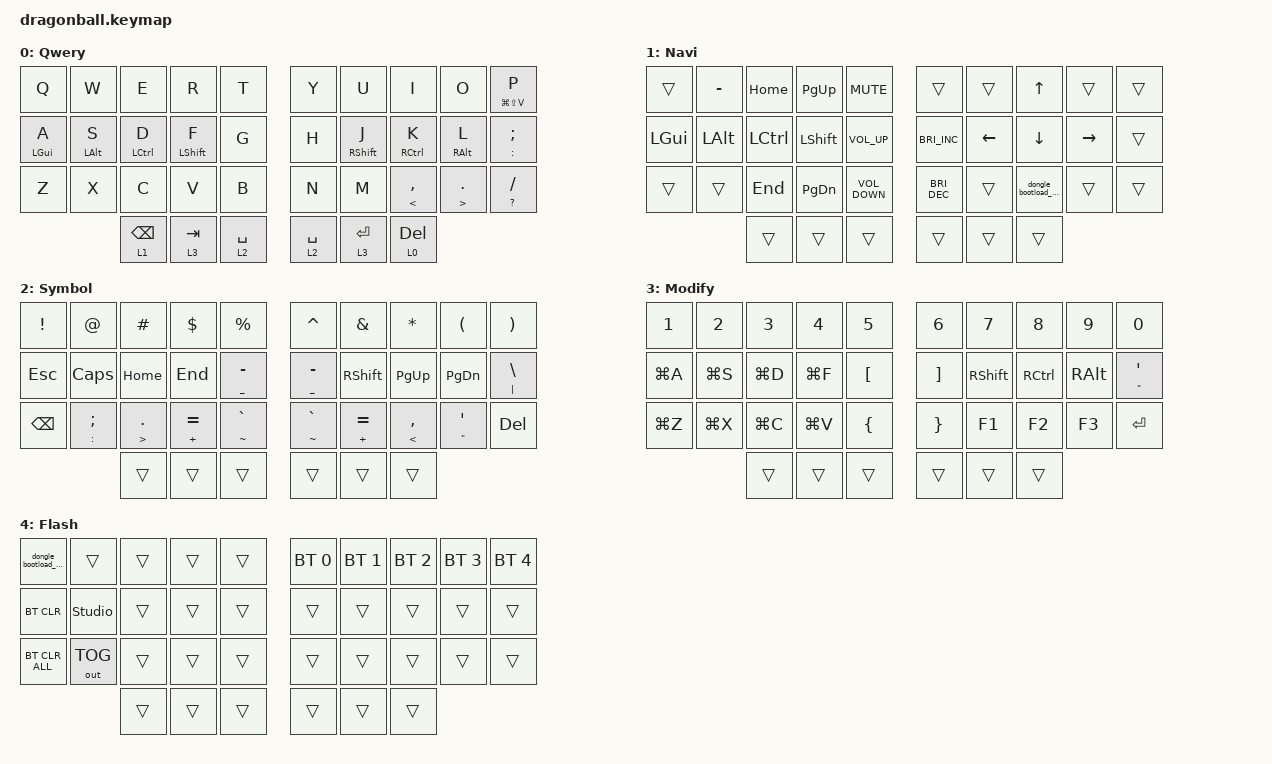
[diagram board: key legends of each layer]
#include <dt-bindings/zmk/mouse.h>
#include <behaviors.dtsi>
#include <dt-bindings/zmk/bt.h>
#include <dt-bindings/zmk/keys.h>
#include <dt-bindings/zmk/outputs.h>


&lt {
    tapping-term-ms = <240>;
    flavor = "balanced";
    quick-tap-ms = <150>;
};

&mt {
    global-quick-tap;
    flavor = "tap-preferred";
    tapping-term-ms = <200>;
};

&sk {
    release-after-ms = <2000>;
    quick-release;
};

/ {
    macros {
        dongle_bootload_macro: bootload_macro {
            compatible = "zmk,behavior-macro";
            #binding-cells = <0>;
            bindings = <&bootloader>;
            label = "BOOTLOAD_MACRO";
        };
    };

    combos {
        compatible = "zmk,combos";

        combo_esc {
            timeout-ms = <50>;
            key-positions = <0 1>;
            bindings = <&kp ESC>;
        };

        left_bkt {
            bindings = <&kp LEFT_BRACKET>;
            key-positions = <2 3>;
            timeout-ms = <50>;
        };

        right_bkt {
            bindings = <&kp RIGHT_BRACKET>;
            key-positions = <7 6>;
            timeout-ms = <50>;
        };

        left_par {
            bindings = <&kp LEFT_PARENTHESIS>;
            key-positions = <12 13>;
            timeout-ms = <50>;
        };

        right_par {
            bindings = <&kp RIGHT_PARENTHESIS>;
            key-positions = <16 17>;
            timeout-ms = <50>;
        };

        left_brace {
            bindings = <&kp LEFT_BRACE>;
            key-positions = <22 23>;
            timeout-ms = <50>;
        };

        right_brace {
            bindings = <&kp RIGHT_BRACE>;
            key-positions = <26 27>;
            timeout-ms = <50>;
        };

        bac {
            bindings = <&kp BACKSLASH>;
            key-positions = <5 4>;
            timeout-ms = <50>;
        };

        pipe {
            bindings = <&kp PIPE>;
            key-positions = <14 15>;
            timeout-ms = <50>;
        };

        lclk {
            bindings = <&mkp LCLK>;
            key-positions = <13 14>;
        };

        rclk {
            bindings = <&mkp RCLK>;
            key-positions = <23 24>;
        };

        lclkr {
            bindings = <&mkp LCLK>;
            key-positions = <15 16>;
        };

        rclkr {
            bindings = <&mkp RCLK>;
            key-positions = <25 26>;
        };
    };

    behaviors {
        hm: homerow_mods_left {
            compatible = "zmk,behavior-hold-tap";
            label = "HOMEROW_MODS_LEFT";
            #binding-cells = <2>;
            tapping-term-ms = <200>;
            flavor = "balanced";
            bindings = <&kp>, <&kp>;

            quick-tap-ms = <180>;
            require-prior-idle-ms = <125>;
            hold-trigger-on-release;
            hold-trigger-key-positions = <21 22 23>;
        };

        ltq: ltq {
            compatible = "zmk,behavior-hold-tap";
            label = "LTQ";
            #binding-cells = <2>;
            tapping-term-ms = <200>;
            flavor = "hold-preferred";
            bindings = <&mo>, <&kp>;

            quick-tap-ms = <180>;
        };

        as: as {
            compatible = "zmk,behavior-hold-tap";
            label = "AUTO_SHIFT";
            bindings = <&kp>, <&kp>;

            #binding-cells = <2>;
            tapping-term-ms = <135>;
            quick-tap-ms = <0>;
            flavor = "tap-preferred";
        };
    };

    keymap {
        compatible = "zmk,keymap";

        Qwery {
            label = "Qwery";
            display-name = "Qwery";
            bindings = <
&kp Q                             &kp W                       &kp E                             &kp R             &kp T         &kp Y                        &kp U              &kp I                &kp O                    &hm LG(LS(V)) P
&hm LEFT_GUI A                    &hm LEFT_ALT S              &hm LEFT_CONTROL D                &hm LEFT_SHIFT F  &kp G         &kp H                        &hm RIGHT_SHIFT J  &hm RIGHT_CONTROL K  &hm RIGHT_ALT L          &as COLON SEMICOLON
&kp Z                             &kp X                       &kp C                             &kp V             &kp B         &kp N                        &kp M              &as LESS_THAN COMMA  &as GREATER_THAN PERIOD  &as QUESTION SLASH
                &ltq 1 BACKSPACE                  &ltq 3 TAB                      &ltq 2 SPACE                    &ltq 2 SPACE  &ltq 3 ENTER  &ltq 0 DELETE
            >;
        };

        Navi {
            label = "Navi";
            display-name = "Navi";
            bindings = <
&trans                &kp MINUS             &kp HOME                  &kp PAGE_UP     &kp K_MUTE         &trans                        &trans          &kp UP_ARROW            &trans     &trans
&kp LEFT_GUI          &kp LEFT_ALT          &kp LEFT_CONTROL          &kp LEFT_SHIFT  &kp C_VOLUME_UP    &kp C_BRIGHTNESS_INC          &kp LEFT_ARROW  &kp DOWN_ARROW          &kp RIGHT  &trans
&trans                &trans                &kp END                   &kp PAGE_DOWN   &kp C_VOLUME_DOWN  &kp C_BRI_DEC                 &trans          &dongle_bootload_macro  &trans     &trans
              &trans                &trans                    &trans                  &trans             &trans                &trans
            >;
        };

        Symbol {
            label = "Symbol";
            display-name = "Symbol";
            bindings = <
&kp EXCL               &kp AT                       &kp HASH                      &kp DLLR        &kp PRCNT             &kp CARET                     &kp AMPS         &kp ASTERISK         &kp LPAR                        &kp RPAR
&kp ESCAPE             &kp CAPSLOCK                 &kp HOME                      &kp END         &as UNDERSCORE MINUS  &as UNDERSCORE MINUS          &kp RIGHT_SHIFT  &kp PAGE_UP          &kp PAGE_DOWN                   &as PIPE BACKSLASH
&kp BACKSPACE          &as COLON SEMICOLON          &as GREATER_THAN DOT          &as PLUS EQUAL  &as TILDE GRAVE       &as TILDE GRAVE               &as PLUS EQUAL   &as LESS_THAN COMMA  &as DOUBLE_QUOTES SINGLE_QUOTE  &kp DELETE
               &trans                       &trans                        &trans                  &trans                &trans                &trans
            >;
        };

        Modify {
            label = "Modify";
            display-name = "Modify";
            bindings = <
&kp NUMBER_1          &kp NUMBER_2          &kp NUMBER_3          &kp NUMBER_4  &kp NUMBER_5      &kp NUMBER_6               &kp NUMBER_7     &kp NUMBER_8       &kp NUMBER_9   &kp NUMBER_0
&kp LG(A)             &kp LG(S)             &kp LG(D)             &kp LG(F)     &kp LEFT_BRACKET  &kp RIGHT_BRACKET          &kp RIGHT_SHIFT  &kp RIGHT_CONTROL  &kp RIGHT_ALT  &as DOUBLE_QUOTES SINGLE_QUOTE
&kp LG(Z)             &kp LG(X)             &kp LG(C)             &kp LG(V)     &kp LEFT_BRACE    &kp RIGHT_BRACE            &kp F1           &kp F2             &kp F3         &kp ENTER
              &trans                &trans                &trans                &trans            &trans             &trans
            >;
        };

        Flash {
            label = "Flash";
            display-name = "Flash";
            bindings = <
&dongle_bootload_macro          &trans                &trans          &trans  &trans  &bt BT_SEL 0          &bt BT_SEL 1  &bt BT_SEL 2  &bt BT_SEL 3  &bt BT_SEL 4
&bt BT_CLR                      &studio_unlock        &trans          &trans  &trans  &trans                &trans        &trans        &trans        &trans
&bt BT_CLR_ALL                  &out OUT_TOG          &trans          &trans  &trans  &trans                &trans        &trans        &trans        &trans
                        &trans                &trans          &trans          &trans  &trans        &trans
            >;
        };
    };

    conditional_layers {
        compatible = "zmk,conditional-layers";

        Flash {
            if-layers = <2 3>;
            then-layer = <4>;
        };
    };
};
